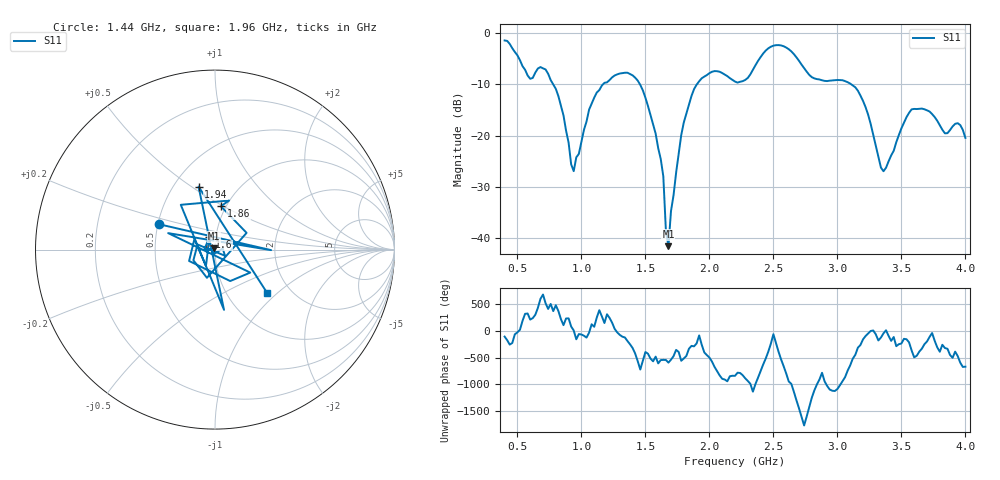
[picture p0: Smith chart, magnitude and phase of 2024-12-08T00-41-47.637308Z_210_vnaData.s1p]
!Created with skrf (http://scikit-rf.org).
# Hz S RI R 50.0
!freq ReS11 ImS11
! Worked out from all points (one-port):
!   181 points, 400 MHz to 4 GHz, reference 50 ohm
!   lowest |S11| = -41.6 dB at 1.68 GHz (marker M1), VSWR 1.02, Z = 49.5 + j0.639 ohm
!   |S11| at or under -10 dB: 779.7 MHz to 1.168 GHz (388.5 MHz wide, 39.9 % of centre); 1.458 GHz to 1.902 GHz (444 MHz wide, 26.4 % of centre); 3.109 GHz to end of sweep
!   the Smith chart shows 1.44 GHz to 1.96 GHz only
!   S11 on the Smith chart (normalised r, x): 1.44 GHz: 0.50, +0.16; 1.6 GHz: 0.93, +0.13; 1.86 GHz: 0.95, +0.49; 1.94 GHz: 0.66, +0.53; 1.96 GHz: 1.53, -0.86
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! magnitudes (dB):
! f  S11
! 400 MHz  -1.4
! 600 MHz  -8.9
! 720 MHz  -7.1
! 860 MHz  -16.1
! 940 MHz  -27.0
! 1.1 GHz  -12.6
! 1.3 GHz  -7.9
! 1.44 GHz  -9.3
! 1.6 GHz  -22.5
! 1.64 GHz  -28.0
! 1.66 GHz  -38.6
! 1.68 GHz  -41.6
! 1.7 GHz  -34.8
! 1.76 GHz  -23.6
! 1.86 GHz  -12.3
! 1.94 GHz  -8.8
! 1.96 GHz  -8.5
! 2.2 GHz  -9.4
! 2.48 GHz  -2.6
! 2.66 GHz  -4.1
! 2.8 GHz  -8.6
! 3.1 GHz  -9.8
! 3.22 GHz  -14.4
! 3.36 GHz  -27.0
! 3.56 GHz  -15.6
! 3.84 GHz  -19.6
! 3.94 GHz  -17.6
! 4 GHz  -20.5
